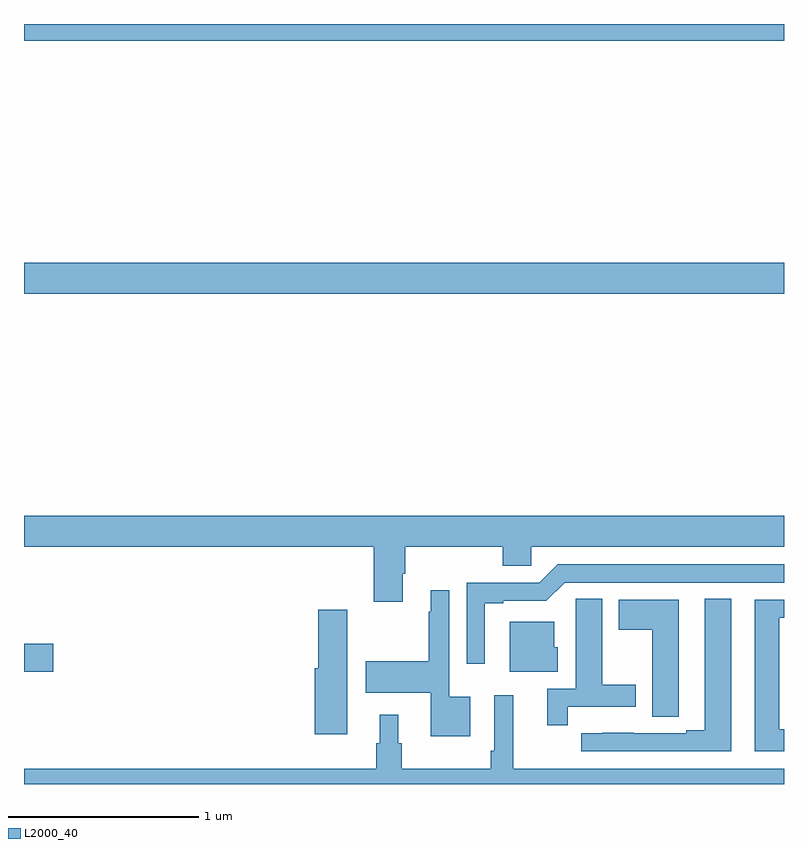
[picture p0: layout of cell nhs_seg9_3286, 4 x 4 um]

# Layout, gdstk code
import gdstk
lib = gdstk.Library(unit=1e-6, precision=1e-09)
def R(c, l, rs):  # rectangles x0, y0, x1, y1
    for r in rs: c.add(gdstk.rectangle(r[:2], r[2:], *l))
def P(c, l, *ps):  # polygons
    for p in ps: c.add(gdstk.Polygon(p, *l))
L2000_40 = (2000, 40)

nhs_seg9_3286 = lib.new_cell('nhs_seg9_3286')
R(nhs_seg9_3286, L2000_40, [(299,1201.091,299.155,1201.238), (299,1203.08,303,1203.244), (299,1204.412,303,1204.5)])
P(nhs_seg9_3286, L2000_40, [(300.994,1201.606),(301.007,1201.606),(301.007,1201.748),(301.52,1201.748),(301.52,1201.65),(301.671,1201.65),(301.671,1201.748),(303,1201.748),(303,1201.912),(299,1201.912),(299,1201.748),(300.842,1201.748),(300.842,1201.458),(300.994,1201.458)],
  [(301.426,1201.452),(301.522,1201.452),(301.522,1201.464),(301.749,1201.464),(301.845,1201.56),(303,1201.56),(303,1201.656),(301.809,1201.656),(301.713,1201.56),(301.329,1201.56),(301.329,1201.134),(301.426,1201.134)],
  [(301.348,1200.958),(301.239,1200.958),(301.239,1201.519),(301.142,1201.519),(301.142,1201.406),(301.131,1201.406),(301.131,1201.146),(300.798,1201.146),(300.798,1200.98),(301.142,1200.98),(301.142,1200.752),(301.348,1200.752)],
  [(301.862,1200.906),(302.221,1200.906),(302.221,1201.023),(302.044,1201.023),(302.044,1201.475),(301.905,1201.475),(301.905,1201.364),(301.904,1201.364),(301.904,1201.002),(301.754,1201.002),(301.754,1200.81),(301.862,1200.81)],
  [(302.722,1201.475),(302.582,1201.475),(302.582,1200.783),(302.486,1200.783),(302.486,1200.768),(302.21,1200.768),(302.21,1200.769),(302.044,1200.769),(302.044,1200.768),(301.932,1200.768),(301.932,1200.672),(302.722,1200.672)],
  [(302.445,1200.961),(302.446,1200.961),(302.446,1201.471),(302.129,1201.471),(302.129,1201.312),(302.306,1201.312),(302.306,1200.853),(302.445,1200.853)],
  [(303,1200.788),(302.974,1200.788),(302.974,1201.374),(303,1201.374),(303,1201.47),(302.846,1201.47),(302.846,1200.672),(303,1200.672)],
  [(300.7,1201.234),(300.702,1201.234),(300.702,1201.417),(300.548,1201.417),(300.548,1201.11),(300.53,1201.11),(300.53,1200.762),(300.7,1200.762)],
  [(301.81,1201.221),(301.792,1201.221),(301.792,1201.354),(301.556,1201.354),(301.556,1201.091),(301.81,1201.091)],
  [(303,1200.58),(301.574,1200.58),(301.574,1200.967),(301.476,1200.967),(301.476,1200.676),(301.456,1200.676),(301.456,1200.58),(300.989,1200.58),(300.989,1200.714),(300.97,1200.714),(300.97,1200.865),(300.872,1200.865),(300.872,1200.714),(300.853,1200.714),(300.853,1200.58),(299,1200.58),(299,1200.5),(303,1200.5)])

lib.write_gds('nhs_seg9_3286.gds')
